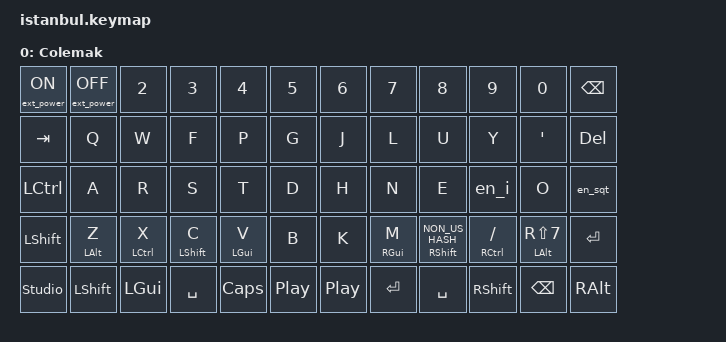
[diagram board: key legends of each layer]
/*
 * Copyright (c) 2025 The ZMK Contributors
 *
 * SPDX-License-Identifier: MIT
 */

#include <behaviors.dtsi>
#include <dt-bindings/zmk/keys.h>
#include <dt-bindings/zmk/ext_power.h>

// Using layer taps on thumbs, having quick tap as well helps w/ repeating space
&lt {
    tapping-term-ms = <200>;
    quick_tap_ms = <200>;
};



/ {
    behaviors {
        ht: hold_tap {
            compatible = "zmk,behavior-hold-tap";
            #binding-cells = <2>;
            flavor = "tap-preferred";
            tapping-term-ms = <200>;
            quick-tap-ms = <150>;
            bindings = <&kp>, <&kp>;
        };
        
        en_i: en_i {
            compatible = "zmk,behavior-mod-morph";
            #binding-cells = <0>;
            bindings = 
                <&kp SQT>,    // i
                <&kp LS(I)>; // I
            mods = <(MOD_LSFT|MOD_RSFT)>;
        }; 

        tr_i: tr_i {
            compatible = "zmk,behavior-mod-morph";
            #binding-cells = <0>;
            bindings = 
                <&kp I>,        // ı
                <&kp LS(SQT)>; // İ
            mods = <(MOD_LSFT|MOD_RSFT)>;
        };

        en_sqt: en-sqt {
            compatible = "zmk,behavior-mod-morph";
            #binding-cells = <0>;
            bindings =  <&kp LS(N2)>,   // '
                        <&kp GRAVE>;   // "
            mods = <(MOD_LSFT|MOD_RSFT)>;
        };

        en_equal: en_equal {
            compatible = "zmk,behavior-mod-morph";
            #binding-cells = <0>;
            bindings =  <&kp RS(N0)>,   // =
                        <&kp KP_PLUS>; // +
            mods = <(MOD_LSFT|MOD_RSFT)>;
        };

        en_slash: en_slash {
            compatible = "zmk,behavior-mod-morph";
            #binding-cells = <0>;
            bindings =  <&kp RS(N7)>,  // slash
                        < &kp UNDER>; // ?
            mods = <(MOD_LSFT|MOD_RSFT)>;
        };

    };


    keymap {
        compatible = "zmk,keymap";

        // This is a sample keymap intended to be replaced with your own
        default_layer {

            display-name = "Colemak";
            bindings = <
            &ext_power EP_ON   &ext_power EP_OFF      &kp N2       &kp N3       &kp N4       &kp N5                                                                        &kp N6   &kp N7        &kp N8                   &kp N9            &kp N0             &kp BACKSPACE
            &kp TAB   &kp Q       &kp W        &kp F        &kp P        &kp G                                                                         &kp J    &kp L         &kp U                    &kp Y             &kp QUOT           &kp DEL
            &kp LCTRL &kp A       &kp R        &kp S        &kp T        &kp D                                                                         &kp H    &kp N         &kp E                    &en_i             &kp O              &en_sqt
            &kp LSHFT &ht LALT Z  &ht LCTRL X  &ht LSHFT C  &ht LGUI V   &kp B                                                                         &kp K    &ht RGUI M    &ht RSHFT NON_US_HASH    &ht RCTRL FSLH    &ht LALT RS(N7)    &kp RET
                        &studio_unlock &kp LSHFT &kp LGUI &kp SPACE &kp CAPS   &kp C_PLAY_PAUSE         &kp C_PLAY_PAUSE     &kp RET &kp SPACE &kp RSHFT &kp BSPC &kp RALT
            >;

            // sensor-bindings = <&inc_dec_kp C_VOL_UP C_VOL_DN &inc_dec_kp PG_UP PG_DN>;
        };

    };
};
